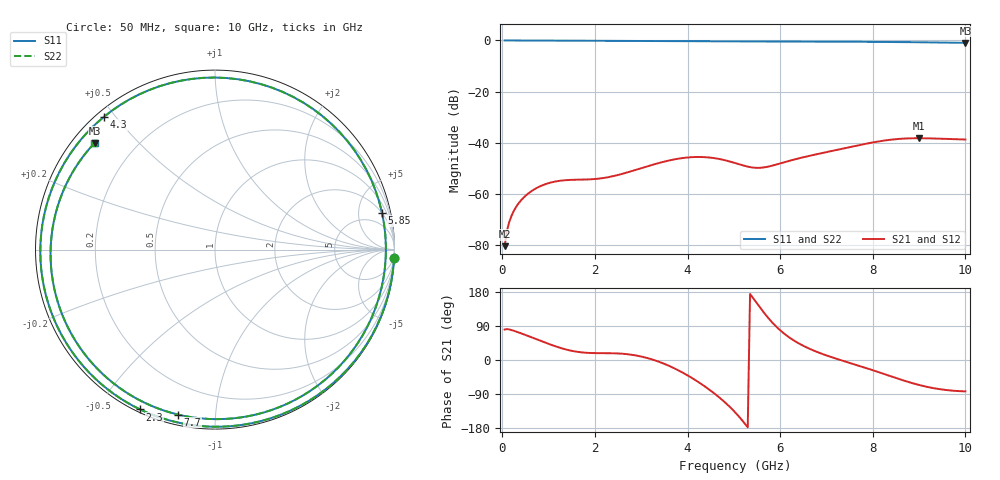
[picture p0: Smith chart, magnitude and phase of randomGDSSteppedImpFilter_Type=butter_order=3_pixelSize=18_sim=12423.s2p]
! freq	dB(S11)	phase(S11)	dB(S12)	phase(S12)
!  dB(S21)	phase(S21)	dB(S22)	phase(S22)
!S-par simulation data
#  GHz  S  DB  R 50
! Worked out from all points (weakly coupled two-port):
!   200 points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, 50 MHz to 10 GHz, reference 50 ohm
!   highest |S21| = -38.25 dB at 9 GHz (marker M1); lowest = -80.5 dB at 50 MHz (marker M2)
!   lowest |S11| = -1.0 dB at 10 GHz (marker M3), VSWR 18.26, Z = 3.13 + j18.9 ohm
!   |S11| at or under -10 dB: nowhere
!   |S22| runs from -1.0 to 0.0 dB; largest |S21 - S12| = 0
!   S11 on the Smith chart (normalised r, x): 50 MHz: 1, -44; 2.3 GHz: 0.01, -0.64; 4.3 GHz: 0.02, +0.47; 5.85 GHz: 1.98, +8.79; 7.7 GHz: 0.05, -0.80; 10 GHz: 0.06, +0.38
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0.05  -0.01 -2.6  -80.48 80.4  -80.48 80.4  -0.01 -2.6
0.2  -0.02 -10.2  -68.56 79.0  -68.56 79.0  -0.02 -10.2
0.55  -0.03 -27.9  -60.02 63.8  -60.02 63.8  -0.03 -27.9
1.2  -0.08 -60.4  -55.01 34.0  -55.01 34.0  -0.08 -60.4
1.75  -0.11 -87.7  -54.43 19.7  -54.43 19.7  -0.11 -87.7
2.3  -0.15 -115.1  -53.45 18.0  -53.45 18.0  -0.15 -115.1
2.9  -0.19 -146.0  -50.53 11.6  -50.53 11.6  -0.19 -146.0
3.4  -0.23 -173.5  -47.86 -5.4  -47.86 -5.4  -0.23 -173.5
3.85  -0.27 159.6  -46.12 -30.3  -46.12 -30.3  -0.27 159.6
4.3  -0.31 130.0  -45.60 -63.5  -45.60 -63.5  -0.31 130.1
4.7  -0.35 101.3  -46.43 -100.2  -46.43 -100.2  -0.35 101.4
5.05  -0.38 74.6  -48.09 -141.0  -48.09 -141.0  -0.38 74.7
5.5  -0.41 39.3  -49.85 149.3  -49.85 149.3  -0.41 39.4
5.85  -0.42 12.4  -48.89 96.2  -48.89 96.2  -0.42 12.5
6.25  -0.43 -16.7  -46.84 55.1  -46.84 55.1  -0.43 -16.6
6.7  -0.44 -46.5  -44.87 26.1  -44.87 26.1  -0.44 -46.4
7.2  -0.47 -76.1  -42.91 3.8  -42.91 3.8  -0.47 -75.9
7.7  -0.52 -102.6  -40.98 -15.2  -40.98 -15.2  -0.52 -102.5
8.35  -0.60 -134.7  -38.91 -41.3  -38.91 -41.3  -0.60 -134.6
9  -0.71 -166.6  -38.25 -65.9  -38.25 -65.9  -0.71 -166.4
9.5  -0.81 167.4  -38.47 -77.9  -38.47 -77.9  -0.81 167.6
10  -0.95 138.4  -38.75 -82.8  -38.75 -82.8  -0.95 138.7
